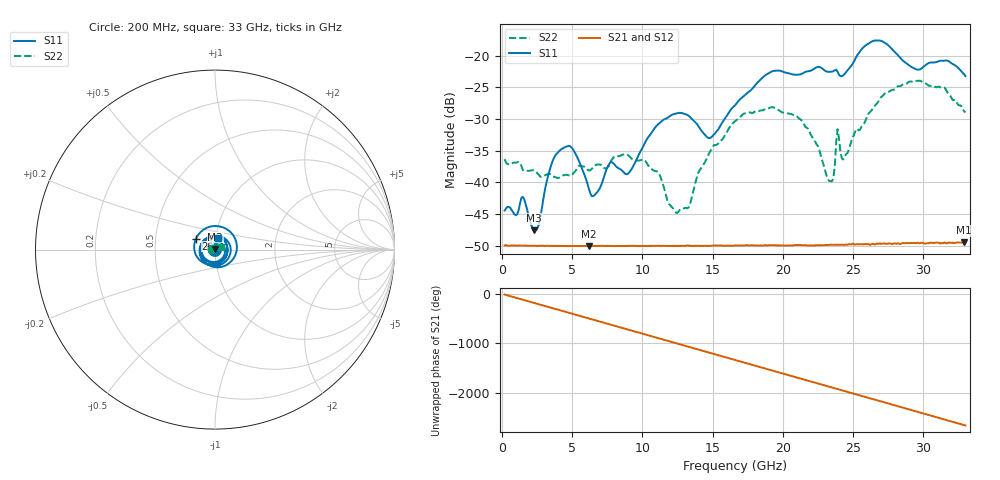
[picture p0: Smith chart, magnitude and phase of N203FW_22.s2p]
# GHZ S RI R 50
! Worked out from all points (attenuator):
!   329 points, 200 MHz to 33 GHz, reference 50 ohm
!   highest |S21| = -49.45 dB at 32.9 GHz (marker M1); lowest = -50.1 dB at 6.2 GHz (marker M2)
!   lowest |S11| = -47.6 dB at 2.3 GHz (marker M3), VSWR 1.01, Z = 50.1 + j0.403 ohm
!   |S11| at or under -10 dB: start of sweep to end of sweep
!   |S22| runs from -44.8 to -23.9 dB; largest |S21 - S12| = 8.8e-05
!   S11 on the Smith chart (normalised r, x): 200 MHz: 1.01, +0.00; 26 GHz: 0.80, +0.10; 33 GHz: 1.03, +0.14
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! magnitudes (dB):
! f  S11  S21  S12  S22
! 200 MHz  -44.5  -50.0  -49.9  -36.3
! 1.5 GHz  -42.3  -50.0  -50.0  -38.1
! 2.3 GHz  -47.6  -50.0  -50.0  -38.2
! 3.9 GHz  -35.5  -50.0  -50.0  -39.3
! 5.7 GHz  -37.8  -50.1  -50.0  -37.5
! 6.2 GHz  -41.1  -50.1  -50.1  -38.1
! 9 GHz  -38.6  -50.0  -50.0  -35.7
! 11.2 GHz  -30.7  -50.0  -50.0  -38.6
! 11.9 GHz  -29.7  -50.1  -50.0  -43.4
! 13.2 GHz  -29.4  -50.0  -50.0  -44.1
! 14.8 GHz  -33.0  -50.0  -50.0  -35.2
! 16.6 GHz  -27.8  -50.0  -50.0  -30.3
! 19.3 GHz  -22.4  -49.9  -49.9  -28.1
! 22.1 GHz  -22.3  -50.0  -49.9  -32.8
! 23.5 GHz  -22.5  -49.9  -49.8  -39.8
! 23.9 GHz  -22.5  -49.9  -49.9  -31.6
! 24.3 GHz  -23.1  -49.8  -49.8  -36.4
! 26 GHz  -18.2  -49.8  -49.7  -29.6
! 27.6 GHz  -18.6  -49.7  -49.7  -25.7
! 29.8 GHz  -22.1  -49.6  -49.7  -24.0
! 32.9 GHz  -22.9  -49.5  -49.4  -28.8
! 33 GHz  -23.2  -49.5  -49.5  -29.0
